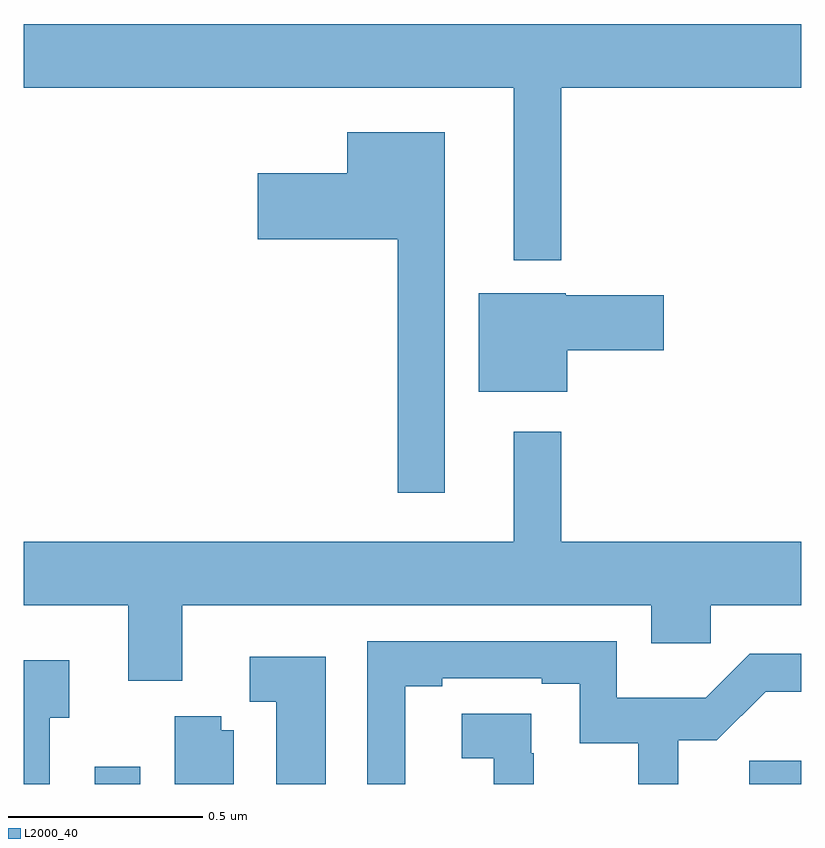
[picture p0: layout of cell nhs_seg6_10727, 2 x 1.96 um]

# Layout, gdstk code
import gdstk
lib = gdstk.Library(unit=1e-6, precision=1e-09)
def R(c, l, rs):  # rectangles x0, y0, x1, y1
    for r in rs: c.add(gdstk.rectangle(r[:2], r[2:], *l))
def P(c, l, *ps):  # polygons
    for p in ps: c.add(gdstk.Polygon(p, *l))
L2000_40 = (2000, 40)

nhs_seg6_10727 = lib.new_cell('nhs_seg6_10727')
R(nhs_seg6_10727, L2000_40, [(250.182,989.5,250.299,989.545), (251.867,989.5,252,989.56)])
P(nhs_seg6_10727, L2000_40, [(251.383,991.292),(252,991.292),(252,991.456),(250,991.456),(250,991.292),(251.261,991.292),(251.261,990.848),(251.383,990.848)],
  [(251.083,991.177),(250.832,991.177),(250.832,991.072),(250.602,991.072),(250.602,990.902),(250.962,990.902),(250.962,990.249),(251.083,990.249)],
  [(251.398,990.616),(251.647,990.616),(251.647,990.758),(251.394,990.758),(251.394,990.763),(251.171,990.763),(251.171,990.509),(251.398,990.509)],
  [(250.408,989.96),(251.615,989.96),(251.615,989.862),(251.767,989.862),(251.767,989.96),(252,989.96),(252,990.124),(251.383,990.124),(251.383,990.406),(251.261,990.406),(251.261,990.124),(250,990.124),(250,989.96),(250.268,989.96),(250.268,989.766),(250.408,989.766)],
  [(250.981,989.752),(251.077,989.752),(251.077,989.772),(251.333,989.772),(251.333,989.758),(251.43,989.758),(251.43,989.605),(251.581,989.605),(251.581,989.5),(251.684,989.5),(251.684,989.613),(251.783,989.613),(251.909,989.738),(252,989.738),(252,989.835),(251.868,989.835),(251.755,989.722),(251.526,989.722),(251.526,989.868),(250.884,989.868),(250.884,989.5),(250.981,989.5)],
  [(250.777,989.827),(250.581,989.827),(250.581,989.712),(250.649,989.712),(250.649,989.5),(250.777,989.5)],
  [(250.066,989.671),(250.117,989.671),(250.117,989.818),(250,989.818),(250,989.5),(250.066,989.5)],
  [(251.312,989.579),(251.306,989.579),(251.306,989.681),(251.127,989.681),(251.127,989.566),(251.209,989.566),(251.209,989.5),(251.312,989.5)],
  [(250.54,989.638),(250.508,989.638),(250.508,989.675),(250.388,989.675),(250.388,989.5),(250.54,989.5)])

lib.write_gds('nhs_seg6_10727.gds')
